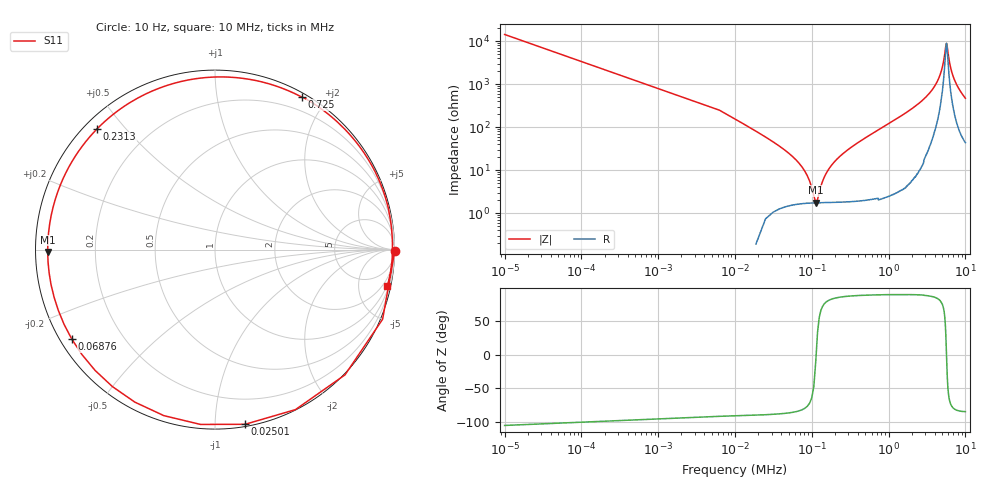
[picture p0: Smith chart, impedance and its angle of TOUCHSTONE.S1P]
!Keysight Technologies,E5061B,MY49912438,B.06.30
!Date: Thu Nov 06 22:12:27 2025
!Data & Calibration Information:
!Freq	S11:SOLT1(ON)
# Hz S dB R 50
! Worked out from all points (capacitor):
!   1601 points, 10 Hz to 10 MHz, reference 50 ohm
!   read as one part to ground: C = 103 nF near 50.01 kHz
!   lowest |Z| = 1.78 ohm at 112.5 kHz (marker M1)
!   series resonance near 114 kHz, so ESL is about 19 uH
!   S11 on the Smith chart (normalised r, x): 10 Hz: open; 25.01 kHz: 0.01, -1.19; 68.76 kHz: 0.03, -0.29; 231.3 kHz: 0.04, +0.42; 725 kHz: 0.04, +1.72; 10 MHz: 0.88, -9.44
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10  0.02 -0.4
25009.97  -0.11 -80.2
56259.94  -0.46 -134.8
68759.93  -0.53 -148.1
75009.93  -0.55 -153.7
87509.91  -0.58 -163.5
100009.9  -0.60 -171.9
112509.9  -0.61 -179.2
137509.9  -0.61 168.2
168759.8  -0.59 155.2
200009.8  -0.57 144.2
231259.8  -0.54 134.5
268759.7  -0.50 124.3
312509.7  -0.45 114.0
406259.6  -0.37 96.1
481259.5  -0.31 84.9
556259.4  -0.27 75.7
725009.3  -0.20 60.4
950009.1  -0.13 47.1
1250009  -0.10 35.7
1787508  -0.07 24.1
2500008  -0.06 15.6
3750006  -0.08 7.4
5000005  -0.09 2.2
6250004  -0.10 -1.7
7500002  -0.11 -5.3
8750001  -0.13 -8.6
1e7  -0.17 -12.0
